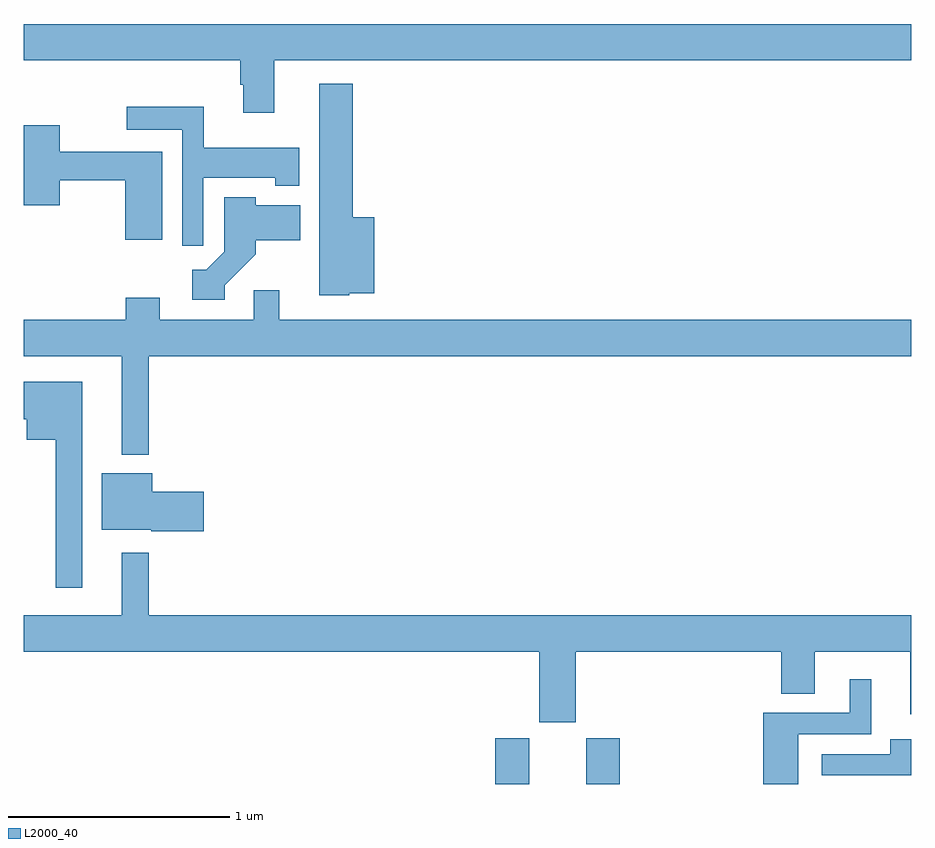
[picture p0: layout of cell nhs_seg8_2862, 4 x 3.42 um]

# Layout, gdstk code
import gdstk
lib = gdstk.Library(unit=1e-6, precision=1e-09)
def R(c, l, rs):  # rectangles x0, y0, x1, y1
    for r in rs: c.add(gdstk.rectangle(r[:2], r[2:], *l))
def P(c, l, *ps):  # polygons
    for p in ps: c.add(gdstk.Polygon(p, *l))
L2000_40 = (2000, 40)

nhs_seg8_2862 = lib.new_cell('nhs_seg8_2862')
R(nhs_seg8_2862, L2000_40, [(293.126,1119.9,293.278,1120.107), (293.534,1119.9,293.687,1120.107)])
P(nhs_seg8_2862, L2000_40, [(292.129,1123.16),(295,1123.16),(295,1123.324),(291,1123.324),(291,1123.16),(291.977,1123.16),(291.977,1123.05),(291.989,1123.05),(291.989,1122.924),(292.129,1122.924)],
  [(292.467,1122.11),(292.579,1122.11),(292.579,1122.454),(292.484,1122.454),(292.484,1123.054),(292.331,1123.054),(292.331,1122.101),(292.467,1122.101)],
  [(291.81,1122.632),(292.134,1122.632),(292.134,1122.596),(292.242,1122.596),(292.242,1122.766),(291.811,1122.766),(291.811,1122.952),(291.465,1122.952),(291.465,1122.848),(291.714,1122.848),(291.714,1122.324),(291.81,1122.324)],
  [(291.625,1122.748),(291.162,1122.748),(291.162,1122.868),(291,1122.868),(291,1122.507),(291.162,1122.507),(291.162,1122.619),(291.458,1122.619),(291.458,1122.351),(291.625,1122.351)],
  [(291.906,1122.147),(292.045,1122.286),(292.045,1122.35),(292.246,1122.35),(292.246,1122.508),(292.045,1122.508),(292.045,1122.544),(291.903,1122.544),(291.903,1122.297),(291.823,1122.217),(291.759,1122.217),(291.759,1122.081),(291.906,1122.081)],
  [(291.565,1121.828),(295,1121.828),(295,1121.992),(292.153,1121.992),(292.153,1122.124),(292.038,1122.124),(292.038,1121.992),(291.613,1121.992),(291.613,1122.091),(291.461,1122.091),(291.461,1121.992),(291,1121.992),(291,1121.828),(291.443,1121.828),(291.443,1121.384),(291.565,1121.384)],
  [(291.265,1121.713),(291,1121.713),(291,1121.543),(291.014,1121.543),(291.014,1121.45),(291.144,1121.45),(291.144,1120.785),(291.265,1120.785)],
  [(291.811,1121.216),(291.58,1121.216),(291.58,1121.299),(291.353,1121.299),(291.353,1121.045),(291.576,1121.045),(291.576,1121.038),(291.811,1121.038)],
  [(293.488,1120.496),(294.413,1120.496),(294.413,1120.306),(294.565,1120.306),(294.565,1120.496),(294.995,1120.496),(294.995,1120.215),(295,1120.215),(295,1120.66),(291.565,1120.66),(291.565,1120.942),(291.443,1120.942),(291.443,1120.66),(291,1120.66),(291,1120.496),(293.324,1120.496),(293.324,1120.179),(293.488,1120.179)],
  [(294.49,1120.125),(294.82,1120.125),(294.82,1120.372),(294.722,1120.372),(294.722,1120.221),(294.332,1120.221),(294.332,1119.9),(294.49,1119.9)],
  [(295,1120.102),(294.905,1120.102),(294.905,1120.035),(294.597,1120.035),(294.597,1119.939),(295,1119.939)])

lib.write_gds('nhs_seg8_2862.gds')
